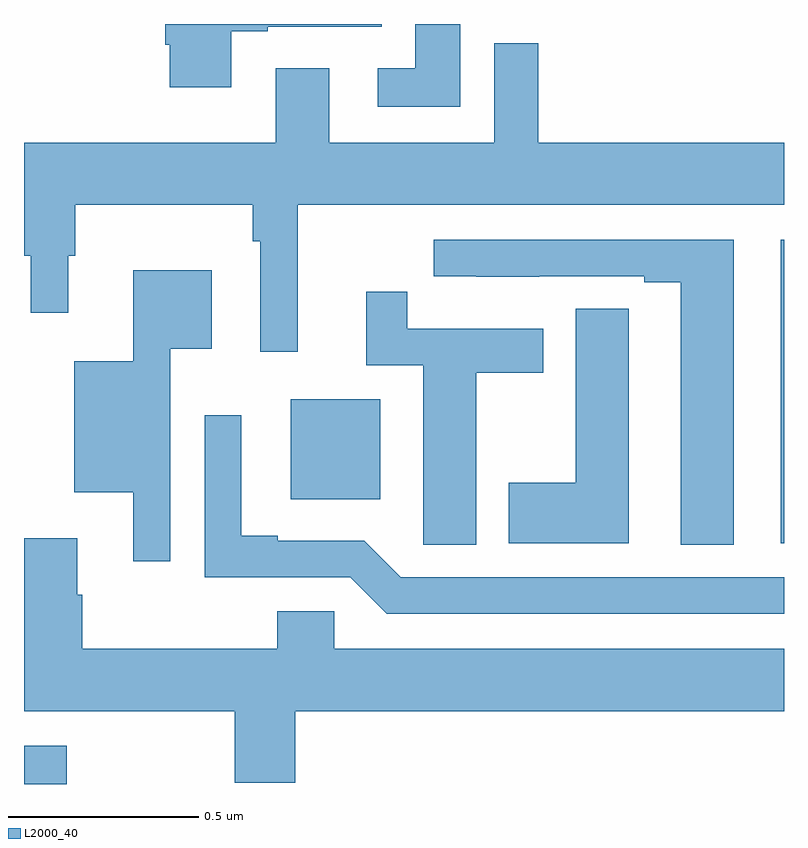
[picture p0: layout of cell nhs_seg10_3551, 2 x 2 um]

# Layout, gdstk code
import gdstk
lib = gdstk.Library(unit=1e-6, precision=1e-09)
def R(c, l, rs):  # rectangles x0, y0, x1, y1
    for r in rs: c.add(gdstk.rectangle(r[:2], r[2:], *l))
def P(c, l, *ps):  # polygons
    for p in ps: c.add(gdstk.Polygon(p, *l))
L2000_40 = (2000, 40)

nhs_seg10_3551 = lib.new_cell('nhs_seg10_3551')
R(nhs_seg10_3551, L2000_40, [(155,1257.5,155.113,1257.601), (156.992,1258.134,157,1258.932), (155.702,1258.25,155.938,1258.513)])
P(nhs_seg10_3551, L2000_40, [(155.545,1259.481),(155.641,1259.481),(155.641,1259.493),(155.941,1259.493),(155.941,1259.5),(155.372,1259.5),(155.372,1259.446),(155.384,1259.446),(155.384,1259.334),(155.545,1259.334)],
  [(156.148,1259.5),(156.029,1259.5),(156.029,1259.383),(155.931,1259.383),(155.931,1259.282),(156.148,1259.282)],
  [(155.72,1259.024),(157,1259.024),(157,1259.188),(156.353,1259.188),(156.353,1259.449),(156.237,1259.449),(156.237,1259.188),(155.803,1259.188),(155.803,1259.383),(155.663,1259.383),(155.663,1259.188),(155,1259.188),(155,1258.89),(155.018,1258.89),(155.018,1258.74),(155.116,1258.74),(155.116,1258.89),(155.135,1258.89),(155.135,1259.024),(155.602,1259.024),(155.602,1258.928),(155.622,1258.928),(155.622,1258.638),(155.72,1258.638)],
  [(156.868,1258.932),(156.078,1258.932),(156.078,1258.836),(156.19,1258.836),(156.19,1258.835),(156.356,1258.835),(156.356,1258.836),(156.632,1258.836),(156.632,1258.821),(156.728,1258.821),(156.728,1258.129),(156.868,1258.129)],
  [(155.385,1258.646),(155.494,1258.646),(155.494,1258.852),(155.288,1258.852),(155.288,1258.612),(155.132,1258.612),(155.132,1258.268),(155.288,1258.268),(155.288,1258.086),(155.385,1258.086)],
  [(156.19,1258.582),(156.367,1258.582),(156.367,1258.698),(156.008,1258.698),(156.008,1258.795),(155.9,1258.795),(155.9,1258.602),(156.05,1258.602),(156.05,1258.24),(156.051,1258.24),(156.051,1258.129),(156.19,1258.129)],
  [(156.592,1258.643),(156.591,1258.643),(156.591,1258.751),(156.452,1258.751),(156.452,1258.293),(156.275,1258.293),(156.275,1258.133),(156.592,1258.133)],
  [(157,1258.044),(155.991,1258.044),(155.895,1258.14),(155.668,1258.14),(155.668,1258.153),(155.572,1258.153),(155.572,1258.471),(155.475,1258.471),(155.475,1258.044),(155.859,1258.044),(155.955,1257.948),(157,1257.948)],
  [(155.714,1257.692),(157,1257.692),(157,1257.856),(155.817,1257.856),(155.817,1257.954),(155.666,1257.954),(155.666,1257.856),(155.153,1257.856),(155.153,1257.998),(155.14,1257.998),(155.14,1258.147),(155,1258.147),(155,1257.692),(155.554,1257.692),(155.554,1257.503),(155.714,1257.503)])

lib.write_gds('nhs_seg10_3551.gds')
